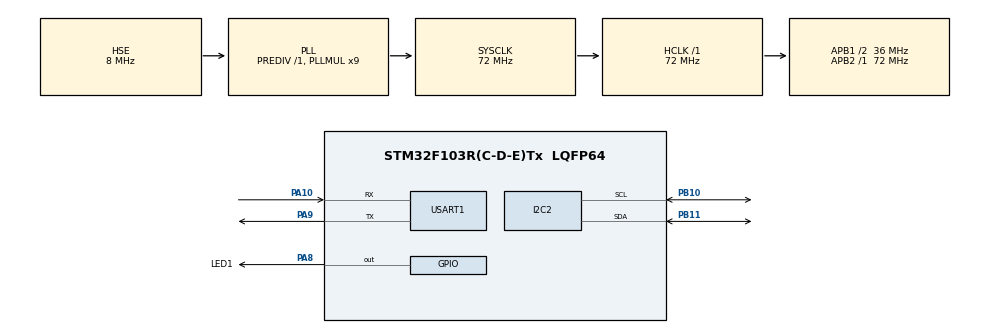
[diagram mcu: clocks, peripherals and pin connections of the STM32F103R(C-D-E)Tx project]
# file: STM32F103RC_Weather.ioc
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Mcu.Family=STM32F1
Mcu.Name=STM32F103R(C-D-E)Tx
Mcu.Package=LQFP64
NVIC.PriorityGroup=NVIC_PRIORITYGROUP_4
NVIC.USART1_IRQn=true\:0\:0\:false\:false\:true\:true\:true
PA10.Mode=Asynchronous
PA10.Signal=USART1_RX
PA13.Mode=Serial_Wire
PA13.Signal=SYS_JTMS-SWDIO
PA14.Mode=Serial_Wire
PA14.Signal=SYS_JTCK-SWCLK
PA8.GPIO_Label=LED1
PA8.PinState=GPIO_PIN_SET
PA8.Signal=GPIO_Output
PA9.Mode=Asynchronous
PA9.Signal=USART1_TX
PB10.Mode=I2C
PB10.Signal=I2C2_SCL
PB11.Mode=I2C
PB11.Signal=I2C2_SDA
PD0-OSC_IN.Mode=HSE-External-Oscillator
PD0-OSC_IN.Signal=RCC_OSC_IN
PD1-OSC_OUT.Mode=HSE-External-Oscillator
PD1-OSC_OUT.Signal=RCC_OSC_OUT
ProjectManager.HeapSize=0x200
ProjectManager.StackSize=0x400
ProjectManager.TargetToolchain=MDK-ARM V5.32
RCC.AHBFreq_Value=72000000
RCC.APB1CLKDivider=RCC_HCLK_DIV2
RCC.APB1Freq_Value=36000000
RCC.APB1TimFreq_Value=72000000
RCC.APB2Freq_Value=72000000
RCC.APB2TimFreq_Value=72000000
RCC.HCLKFreq_Value=72000000
RCC.PLLMUL=RCC_PLL_MUL9
RCC.PLLSourceVirtual=RCC_PLLSOURCE_HSE
RCC.SYSCLKFreq_VALUE=72000000
RCC.SYSCLKSource=RCC_SYSCLKSOURCE_PLLCLK
RCC.USBFreq_Value=72000000
USART1.VirtualMode=VM_ASYNC
board=custom

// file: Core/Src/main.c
/* USER CODE BEGIN Header */
/**
  ******************************************************************************
  * @file           : main.c
  * @brief          : Main program body
  ******************************************************************************
  * @attention
  *
  * <h2><center>&copy; Copyright (c) 2025 STMicroelectronics.
  * All rights reserved.</center></h2>
  *
  * This software component is licensed by ST under BSD 3-Clause license,
  * the "License"; You may not use this file except in compliance with the
  * License. You may obtain a copy of the License at:
  *                        opensource.org/licenses/BSD-3-Clause
  *
  ******************************************************************************
  */
/* USER CODE END Header */
#include "main.h"
#include "i2c.h"
#include "usart.h"
#include "gpio.h"

/* USER CODE BEGIN Includes */
#include "stdio.h"
#include "string.h"
#include "OLED.h"
#include "key.h"
/* USER CODE END Includes */

/* USER CODE BEGIN PM */
void ESP_Init(void);
void ParseWeatherData(void);
/* USER CODE END PM */

/* USER CODE BEGIN PV */
extern uint8_t aRxBuffer;			//接收中断缓冲
extern char RxBuffer[1000];
extern uint8_t dataReceived;
extern uint16_t Uart1_Rx_Cnt;
extern unsigned char BMP1[];
/* USER CODE END PV */

void SystemClock_Config(void);

int main(void)
{
  /* USER CODE BEGIN 1 */
  uint8_t city = 0;
	  uint8_t flag = 0;
  uint8_t key = 0;
  /* USER CODE END 1 */

  /* MCU Configuration--------------------------------------------------------*/

  /* Reset of all peripherals, Initializes the Flash interface and the Systick. */
  HAL_Init();

  /* Configure the system clock */
  SystemClock_Config();

  /* Initialize all configured peripherals */
  MX_GPIO_Init();
  MX_USART1_UART_Init();
  MX_I2C2_Init();
  /* USER CODE BEGIN 2 */
  HAL_UART_Receive_IT(&huart1, (uint8_t *)&aRxBuffer, 1);
  OLED_Init();
  OLED_CLS();
//  OLED_DrawBMP(80,3,128,8,BMP1);
  key_init();
  ESP_Init();
  /* USER CODE END 2 */

  /* Infinite loop */
  while (1)
  {

    /* USER CODE BEGIN 3 */
//	  ParseWeatherData();
//	  HAL_Delay(5000);
	 key = key_scan(1);
	  if(key == 1)
	  {
		 while ((!(RxBuffer[Uart1_Rx_Cnt - 1] == 0x7D && RxBuffer[Uart1_Rx_Cnt - 2] == 0x5D)) && city ==0)
		{
			printf("GET https://api.seniverse.com/v3/weather/now.json?key=Sx0WBVjlvmOfdCZeT&location=nanjing&language=en&unit=c\r\n");  //连接WIFI
			HAL_Delay(1000);
			if((RxBuffer[Uart1_Rx_Cnt - 1] == 0x7D && RxBuffer[Uart1_Rx_Cnt - 2] == 0x5D))
			{
				city = 1;
			}
		}
	  }
	  if(key == 2)
	  {
		 while ((!(RxBuffer[Uart1_Rx_Cnt - 1] == 0x7D && RxBuffer[Uart1_Rx_Cnt - 2] == 0x5D)) && city ==1)
		{
			if(flag == 0)
			{
				  OLED_CLS();
				 flag  = 1;
			}
			printf("GET https://api.seniverse.com/v3/weather/now.json?key=Sx0WBVjlvmOfdCZeT&location=Beijing&language=en&unit=c\r\n");  //连接WIFI
			HAL_Delay(1000);
			if((RxBuffer[Uart1_Rx_Cnt - 1] == 0x7D && RxBuffer[Uart1_Rx_Cnt - 2] == 0x5D))
			{
				city = 2;
			}
		}
	  }

    if (dataReceived)  // 确保只有在接收到完整数据时才进行解析
    {
        //HAL_GPIO_WritePin(GPIOA,GPIO_PIN_8,GPIO_PIN_RESET);
		ParseWeatherData();
        dataReceived = 0;  // 解析完数据后，重置标志位
		Uart1_Rx_Cnt = 0;
		memset(RxBuffer,0x00,sizeof(RxBuffer)); //清空数组
		//HAL_GPIO_TogglePin(GPIOA,GPIO_PIN_8);
    }
	HAL_Delay(2000);
//	HAL_UART_Receive_IT(&huart1, (uint8_t *)&aRxBuffer, 1);
	//if(city == 0)
	//{
//	while ((!(RxBuffer[Uart1_Rx_Cnt - 1] == 0x7D && RxBuffer[Uart1_Rx_Cnt - 2] == 0x5D)) && city ==0)
//	{
//		printf("GET https://api.seniverse.com/v3/weather/now.json?key=Sx0WBVjlvmOfdCZeT&location=nanjing&language=en&unit=c\r\n");  //连接WIFI
//		HAL_Delay(1000);
//		if((RxBuffer[Uart1_Rx_Cnt - 1] == 0x7D && RxBuffer[Uart1_Rx_Cnt - 2] == 0x5D))
//		{
//			city = 1;
//		}
//	}
		//city =1;
	//}

  }
  /* USER CODE END 3 */
}

void SystemClock_Config(void)
{
  RCC_OscInitTypeDef RCC_OscInitStruct = {0};
  RCC_ClkInitTypeDef RCC_ClkInitStruct = {0};

  /** Initializes the RCC Oscillators according to the specified parameters
  * in the RCC_OscInitTypeDef structure.
  */
  RCC_OscInitStruct.OscillatorType = RCC_OSCILLATORTYPE_HSE;
  RCC_OscInitStruct.HSEState = RCC_HSE_ON;
  RCC_OscInitStruct.HSEPredivValue = RCC_HSE_PREDIV_DIV1;
  RCC_OscInitStruct.HSIState = RCC_HSI_ON;
  RCC_OscInitStruct.PLL.PLLState = RCC_PLL_ON;
  RCC_OscInitStruct.PLL.PLLSource = RCC_PLLSOURCE_HSE;
  RCC_OscInitStruct.PLL.PLLMUL = RCC_PLL_MUL9;
  if (HAL_RCC_OscConfig(&RCC_OscInitStruct) != HAL_OK)
  {
    Error_Handler();
  }
  /** Initializes the CPU, AHB and APB buses clocks
  */
  RCC_ClkInitStruct.ClockType = RCC_CLOCKTYPE_HCLK|RCC_CLOCKTYPE_SYSCLK
                              |RCC_CLOCKTYPE_PCLK1|RCC_CLOCKTYPE_PCLK2;
  RCC_ClkInitStruct.SYSCLKSource = RCC_SYSCLKSOURCE_PLLCLK;
  RCC_ClkInitStruct.AHBCLKDivider = RCC_SYSCLK_DIV1;
  RCC_ClkInitStruct.APB1CLKDivider = RCC_HCLK_DIV2;
  RCC_ClkInitStruct.APB2CLKDivider = RCC_HCLK_DIV1;

  if (HAL_RCC_ClockConfig(&RCC_ClkInitStruct, FLASH_LATENCY_2) != HAL_OK)
  {
    Error_Handler();
  }
}

/* USER CODE BEGIN 4 */
void ESP_Init(void)
{
	printf("ATE1\r\n");
	HAL_Delay(1000);
	printf("AT+CWJAP=\"BK\"\,\"123456789\"\r\n");  //连接WIFI
	HAL_Delay(2000);
	printf("AT+CIPMODE=1\r\n");  //连接WIFI

	HAL_Delay(1000);
	printf("AT+CIPSTART=\"TCP\"\,\"api.seniverse.com\"\,80\r\n");  //连接WIFI
	HAL_Delay(1000);
	printf("AT+CIPSEND\r\n");  //连接WIFI
	HAL_Delay(1000);
	printf("GET https://api.seniverse.com/v3/weather/now.json?key=Sx0WBVjlvmOfdCZeT&location=beijing&language=en&unit=c\r\n");  //连接WIFI
	HAL_Delay(2000);

	//printf("GET https://api.seniverse.com/v3/weather/now.json?key=Sx0WBVjlvmOfdCZeT&location=nanjing&language=en&unit=c\r\n");  //连接WIFI
//	HAL_Delay(2000);

//	ParseWeatherData();
}

void ParseWeatherData(void)
{
    char *jsonStart = strchr(RxBuffer, '{'); // 定位JSON起始位置 strchr 查找位置指向内存地址

    if (jsonStart == NULL) {
        //printf("Error: JSON start not found\r\n");
        return;
    }

    // 查找now对象
    char *nowSection = strstr(jsonStart, "\"now\":{");
    if (nowSection == NULL) {
        //printf("Error: 'now' section not found\r\n");
        return;
    }

    // 提取温度
    char *tempPtr = strstr(nowSection, "\"temperature\":\"");
    if (tempPtr) {
		//HAL_GPIO_WritePin(GPIOA,GPIO_PIN_8,GPIO_PIN_RESET);
		tempPtr += strlen("\"temperature\":\"");
        char *tempEnd = strchr(tempPtr, '\"');
        if (tempEnd) {
            char temperature[10];
            strncpy(temperature, tempPtr, tempEnd - tempPtr);
            temperature[tempEnd - tempPtr] = '\0';
            //printf("Temperature: %s°C\r\n", temperature);
//			OLED_ShowNum(0,0,(uint8_t)temperature,3,16);
			OLED_ShowStr(0,0,temperature,2);
			OLED_ShowStr(20,0,"C",2);
            // 调用显示函数，例如 Display_Temperature(temperature);
        }
    }

    // 提取天气状况
    char *textPtr = strstr(nowSection, "\"text\":\"");
    if (textPtr) {
        textPtr += strlen("\"text\":\"");
        char *textEnd = strchr(textPtr, '\"');
        if (textEnd) {
            char weatherStatus[20];
            strncpy(weatherStatus, textPtr, textEnd - textPtr);
            weatherStatus[textEnd - textPtr] = '\0';
            //printf("Weather: %s\r\n", weatherStatus);
			//OLED_ShowNum(0,5,(uint8_t)weatherStatus,3,16);
			if(strcmp(weatherStatus,"Sunny") == 0)
			{
				  OLED_DrawBMP(80,3,128,8,BMP1);
			}
			OLED_ShowStr(0,5,weatherStatus,2);
            // 调用显示函数，例如 Display_Weather(weatherStatus);
        }
    }

	// 提取地点状况
    char *locationPtr = strstr(jsonStart, "\"name\":\"");
    if (locationPtr) {
        locationPtr += strlen("\"name\":\"");
        char *locationEnd = strchr(locationPtr, '\"');
        if (locationEnd) {
            char location[30];
            strncpy(location, locationPtr, locationEnd - locationPtr);
            location[locationEnd - locationPtr] = '\0';   //使其成为字符串
            //printf("Weather: %s\r\n", weatherStatus);
			//OLED_ShowNum(0,5,(uint8_t)weatherStatus,3,16);
			OLED_ShowStr(0,3,location,2);
            // 调用显示函数，例如 Display_Weather(weatherStatus);
        }
    }

	char *timePtr = strstr(jsonStart, "\"last_update\":\"");
    if (timePtr) {
        timePtr += strlen("\"last_update\":\"");
        char *timeEnd = strchr(timePtr, '\"');
        if (timeEnd) {
            char lastUpdate[30];
            strncpy(lastUpdate, timePtr, 10);
            lastUpdate[timeEnd - timePtr] = '\0';
            //printf("Last Update: %s\r\n", lastUpdate);
            OLED_ShowStr(40,0,lastUpdate,2); // 显示时间
        }
    }
}
/* USER CODE END 4 */

void Error_Handler(void)
{
  __disable_irq();
  while (1)
  {
  }
}

/************************ (C) COPYRIGHT STMicroelectronics *****END OF FILE****/
